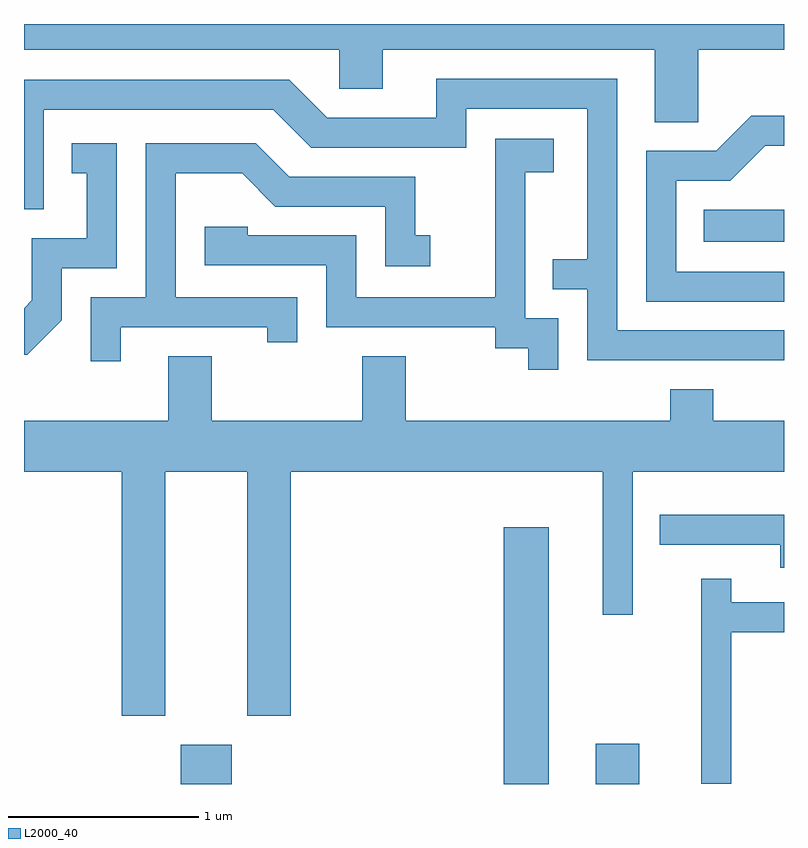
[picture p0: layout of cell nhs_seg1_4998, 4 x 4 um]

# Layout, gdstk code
import gdstk
lib = gdstk.Library(unit=1e-6, precision=1e-09)
def R(c, l, rs):  # rectangles x0, y0, x1, y1
    for r in rs: c.add(gdstk.rectangle(r[:2], r[2:], *l))
def P(c, l, *ps):  # polygons
    for p in ps: c.add(gdstk.Polygon(p, *l))
L2000_40 = (2000, 40)

nhs_seg1_4998 = lib.new_cell('nhs_seg1_4998')
R(nhs_seg1_4998, L2000_40, [(336.436,895.712,336.704,895.919), (338.136,895.712,338.374,897.064), (338.621,895.712,338.849,895.924), (339.188,898.566,339.611,898.734)])
P(nhs_seg1_4998, L2000_40, [(339.159,899.576),(339.611,899.576),(339.611,899.712),(335.611,899.712),(335.611,899.576),(337.271,899.576),(337.271,899.371),(337.499,899.371),(337.499,899.576),(338.931,899.576),(338.931,899.196),(339.159,899.196)],
  [(339.611,898.099),(338.734,898.099),(338.734,899.424),(337.781,899.424),(337.781,899.219),(337.207,899.219),(337.007,899.419),(335.611,899.419),(335.611,898.736),(335.714,898.736),(335.714,899.261),(336.924,899.261),(337.124,899.061),(337.939,899.061),(337.939,899.266),(338.576,899.266),(338.576,898.474),(338.393,898.474),(338.393,898.316),(338.576,898.316),(338.576,897.941),(339.611,897.941)],
  [(339.611,898.409),(339.044,898.409),(339.044,898.886),(339.327,898.886),(339.512,899.071),(339.611,899.071),(339.611,899.229),(339.439,899.229),(339.254,899.044),(338.886,899.044),(338.886,898.251),(339.611,898.251)],
  [(338.424,898.164),(338.249,898.164),(338.249,898.931),(338.399,898.931),(338.399,899.109),(338.091,899.109),(338.091,898.274),(337.359,898.274),(337.359,898.599),(336.789,898.599),(336.789,898.644),(336.561,898.644),(336.561,898.441),(337.201,898.441),(337.201,898.116),(338.091,898.116),(338.091,898.006),(338.266,898.006),(338.266,897.893),(338.424,897.893)],
  [(336.119,898.116),(336.891,898.116),(336.891,898.038),(337.049,898.038),(337.049,898.274),(336.409,898.274),(336.409,898.926),(336.759,898.926),(336.934,898.751),(337.511,898.751),(337.511,898.436),(337.748,898.436),(337.748,898.599),(337.669,898.599),(337.669,898.909),(337.007,898.909),(336.832,899.084),(336.251,899.084),(336.251,898.274),(335.961,898.274),(335.961,897.938),(336.119,897.938)],
  [(335.809,898.154),(335.809,898.426),(336.099,898.426),(336.099,899.084),(335.863,899.084),(335.863,898.926),(335.941,898.926),(335.941,898.584),(335.651,898.584),(335.651,898.257),(335.611,898.217),(335.611,897.971),(335.627,897.971)],
  [(336.354,897.356),(336.786,897.356),(336.786,896.071),(337.014,896.071),(337.014,897.356),(338.656,897.356),(338.656,896.603),(338.814,896.603),(338.814,897.356),(339.611,897.356),(339.611,897.624),(339.239,897.624),(339.239,897.789),(339.011,897.789),(339.011,897.624),(337.619,897.624),(337.619,897.964),(337.391,897.964),(337.391,897.624),(336.599,897.624),(336.599,897.964),(336.371,897.964),(336.371,897.624),(335.611,897.624),(335.611,897.356),(336.126,897.356),(336.126,896.071),(336.354,896.071)],
  [(339.611,897.129),(338.958,897.129),(338.958,896.971),(339.591,896.971),(339.591,896.851),(339.611,896.851)],
  [(339.334,896.511),(339.611,896.511),(339.611,896.669),(339.334,896.669),(339.334,896.793),(339.176,896.793),(339.176,895.713),(339.334,895.713)])

lib.write_gds('nhs_seg1_4998.gds')
